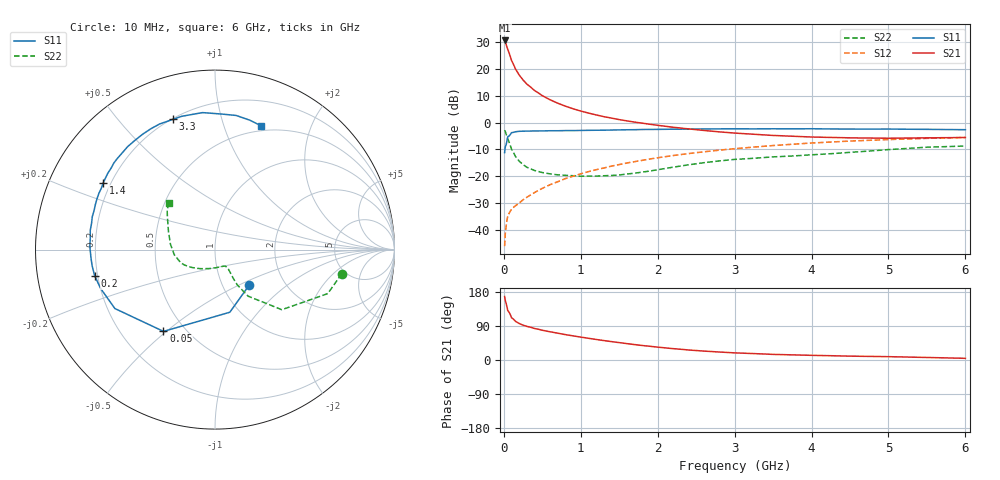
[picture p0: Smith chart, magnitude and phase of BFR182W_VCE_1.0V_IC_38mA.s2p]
! Infineon Technologies  Discrete & RF Semiconductors
! BFR182W
! VCE =  1.0 V,  IC =  38 mA
! Common Emitter S-Parameters:  Jan 2017
# GHz  S  MA  R  50
!  f  S11  S21  S12  S22
! GHz  MAG  ANG  MAG  ANG  MAG  ANG  MAG  ANG
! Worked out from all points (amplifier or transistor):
!   77 points, 10 MHz to 6 GHz, reference 50 ohm
!   highest |S21| = 30.7 dB at 10 MHz (marker M1)
!   |S21| within 3 dB of that: start of sweep to 46.94 MHz
!   unconditionally stable (mu >= 1): start of sweep to 15.02 MHz; 182.9 MHz to end of sweep
!   at 130 MHz: K = 0.83, MSG = 26.5 dB, |S12| = -31.6 dB
!   at 2.2 GHz: K = 1.18, MAG = 2.7 dB, |S12| = -12.3 dB
!   at 6 GHz: K = 1.12, MAG = -2.2 dB, |S12| = -5.6 dB
!   S11 on the Smith chart (normalised r, x): 10 MHz: 1.33, -0.57; 50 MHz: 0.38, -0.49; 200 MHz: 0.19, -0.10; 1.4 GHz: 0.17, +0.27; 3.3 GHz: 0.20, +0.71; 6 GHz: 0.44, +1.34
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0.01  0.2748 -45.9  34.21 167.4  0.0049 64.7  0.7191 -10.8
0.02  0.3586 -76.7  32.38 156.0  0.0088 68.0  0.6744 -21.3
0.05  0.5385 -122.2  23.53 130.9  0.0178 52.1  0.5006 -42.0
0.1  0.6472 -149.5  14.45 111.4  0.0241 48.3  0.318 -54.6
0.15  0.6729 -161.2  10.12 102.2  0.0278 48.8  0.2337 -57.7
0.2  0.6861 -167.7  7.72 96.3  0.0314 53.5  0.1901 -57.6
0.25  0.6905 -172.5  6.239 91.9  0.0361 54.7  0.1635 -56.7
0.3  0.6922 -175.8  5.221 88.7  0.0402 58.6  0.1459 -56.2
0.4  0.6973 178.8  3.958 83.1  0.0492 62.4  0.1269 -55.3
0.5  0.698 174.6  3.182 78.5  0.059 64.9  0.1165 -56.3
0.6  0.7033 171.2  2.67 74.5  0.0689 66.7  0.11 -58.0
0.7  0.7031 168.0  2.301 70.8  0.0784 67.8  0.1055 -60.2
0.9  0.708 162.0  1.808 63.7  0.0994 68.7  0.1015 -68.1
1.1  0.716 156.6  1.504 57.3  0.121 68.9  0.1001 -77.4
1.4  0.7253 149.2  1.211 48.5  0.1535 67.2  0.1026 -94.2
1.7  0.7355 141.9  1.02 40.7  0.1861 65.1  0.1132 -111.0
2.1  0.7483 132.6  0.852 32.0  0.2305 60.9  0.1386 -130.6
3.1  0.7632 111.8  0.623 18.1  0.3341 49.0  0.2087 -162.2
3.3  0.7625 107.9  0.598 16.5  0.3527 46.5  0.2177 -167.7
4.1  0.7633 93.7  0.533 11.9  0.4218 36.3  0.2542 170.1
5.1  0.7539 79.8  0.511 8.4  0.4858 24.2  0.3189 146.1
6  0.7361 69.7  0.525 4.4  0.5272 14.4  0.3646 134.5
